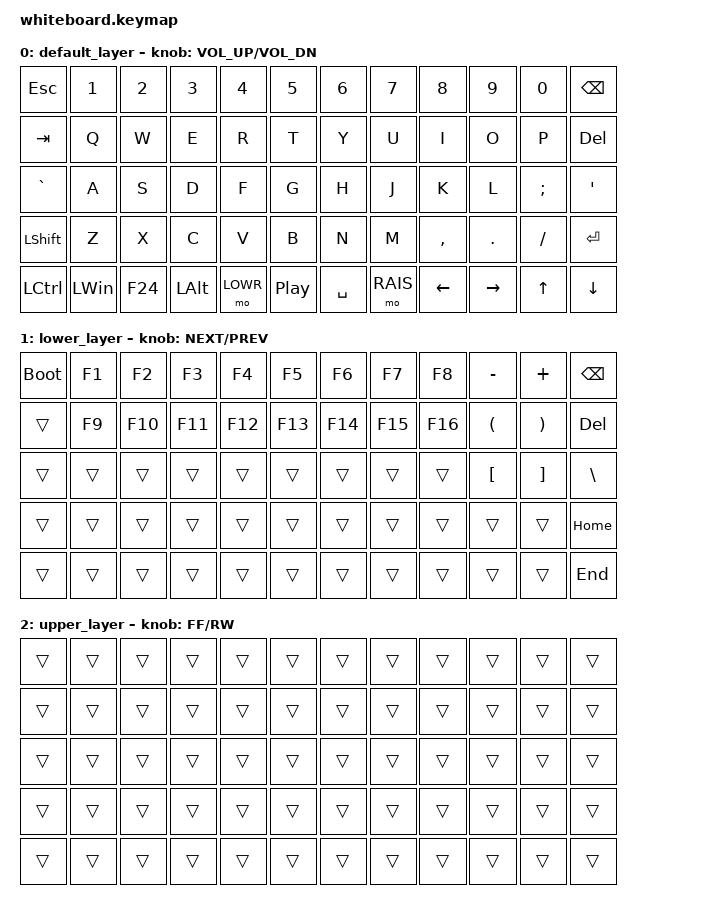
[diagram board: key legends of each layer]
#include <behaviors.dtsi>
#include <dt-bindings/zmk/keys.h>
#define DFLT 0
#define LOWR 1
#define RAIS 2


/ {
    keymap {
        compatible = "zmk,keymap";

        default_layer {

            bindings = <

                &kp ESC   &kp N1   &kp N2   &kp N3   &kp N4   &kp N5   &kp N6    &kp N7   &kp N8    &kp N9    &kp N0   &kp BSPC
                &kp TAB   &kp Q    &kp W    &kp E    &kp R    &kp T    &kp Y     &kp U    &kp I     &kp O     &kp P    &kp DEL
                &kp GRAVE &kp A    &kp S    &kp D    &kp F    &kp G    &kp H     &kp J    &kp K     &kp L     &kp SEMI &kp SQT
                &kp LSHFT &kp Z    &kp X    &kp C    &kp V    &kp B    &kp N     &kp M    &kp COMMA &kp DOT   &kp FSLH &kp ENTER
                &kp LCTRL &kp LWIN &kp F24  &kp LALT &mo LOWR &kp C_PP &kp SPACE &mo RAIS &kp LEFT  &kp RIGHT &kp UP   &kp DOWN

            >;

            sensor-bindings = <&inc_dec_kp C_VOL_UP C_VOL_DN>;
        };

        lower_layer {

            bindings = <

                &bootloader  &kp F1  &kp F2  &kp F3  &kp F4  &kp F5  &kp F6  &kp F7  &kp F8  &kp MINUS  &kp PLUS  &kp BSPC
                &trans  &kp F9  &kp F10 &kp F11  &kp F12  &kp F13  &kp F14  &kp F15  &kp F16  &kp LPAR  &kp RPAR  &kp DEL
                &trans  &trans  &trans  &trans  &trans  &trans  &trans  &trans  &trans  &kp LBKT  &kp RBKT  &kp BSLH
                &trans  &trans  &trans  &trans  &trans  &trans  &trans  &trans  &trans  &trans  &trans  &kp HOME
                &trans  &trans  &trans  &trans  &trans  &trans  &trans  &trans  &trans  &trans  &trans  &kp END

            >;

            sensor-bindings = <&inc_dec_kp C_NEXT C_PREV>;
        };

        upper_layer {

            bindings = <

                &trans  &trans  &trans  &trans  &trans  &trans  &trans  &trans  &trans  &trans  &trans  &trans
                &trans  &trans  &trans  &trans  &trans  &trans  &trans  &trans  &trans  &trans  &trans  &trans
                &trans  &trans  &trans  &trans  &trans  &trans  &trans  &trans  &trans  &trans  &trans  &trans
                &trans  &trans  &trans  &trans  &trans  &trans  &trans  &trans  &trans  &trans  &trans  &trans
                &trans  &trans  &trans  &trans  &trans  &trans  &trans  &trans  &trans  &trans  &trans  &trans
                
            >;

            sensor-bindings = <&inc_dec_kp C_FF C_RW>;
        };

    };
};
